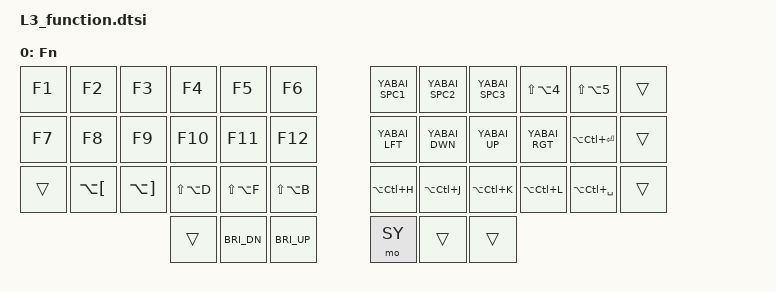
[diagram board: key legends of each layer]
/**
 * Function / Yabai Window Management Layer
 * Includes function keys and yabai window management commands
 */

/ {
  keymap {
    compatible = "zmk,keymap";

    fn_layer {
      display-name = "Fn";
      bindings = <
// ╭───────────────┬───────────────┬───────────────┬───────────────┬───────────────┬───────────────╮   ╭───────────────┬───────────────┬───────────────┬───────────────┬───────────────┬───────────────╮
// │0              │1              │2              │3              │4              │5              │   │6              │7              │8              │9              │10             │11             │
    &kp F1          &kp F2          &kp F3          &kp F4          &kp F5          &kp F6              &kp YABAI_SPC1  &kp YABAI_SPC2  &kp YABAI_SPC3  &kp LS(LA(N4))  &kp LS(LA(N5))  &trans
// ├───────────────├───────────────┼───────────────┼───────────────┼───────────────┼───────────────┤   ├───────────────├───────────────┼───────────────┼───────────────┼───────────────┼───────────────┤
// │12             │13             │14             │15             │16             │17             │   │18             │19             │20             │21             │22             │23             │
    &kp F7          &kp F8          &kp F9          &kp F10         &kp F11         &kp F12             &kp YABAI_LFT   &kp YABAI_DWN   &kp YABAI_UP    &kp YABAI_RGT   &kp LA(LC(ENTER)) &trans
// ├───────────────├───────────────┼───────────────┼───────────────┼───────────────┼───────────────┤   ├───────────────├───────────────┼───────────────┼───────────────┼───────────────┼───────────────┤
// │24             │25             │26             │27             │28             │29             │   │30             │31             │32             │33             │34             │35             │
    &trans          &kp LA(LBKT)    &kp LA(RBKT)    &kp LS(LA(D))   &kp LS(LA(F))   &kp LS(LA(B))       &kp LA(LC(H))   &kp LA(LC(J))   &kp LA(LC(K))   &kp LA(LC(L))   &kp LA(LC(SPACE)) &trans
// ╰───────────────┴───────────────┴───────────────┼───────────────┼───────────────┼───────────────┤   ├───────────────├───────────────┼───────────────┼───────────────┴───────────────┴───────────────╯
//                                                 │36             │37             │38             │   │39             │40             │41             │
                                                    &trans          &kp C_BRI_DN    &kp C_BRI_UP        &mo SY          &trans          &trans
//                                                 ╰───────────────┴───────────────┴───────────────╯   ╰───────────────┴───────────────┴───────────────╯
      >;
    };
  };
};
